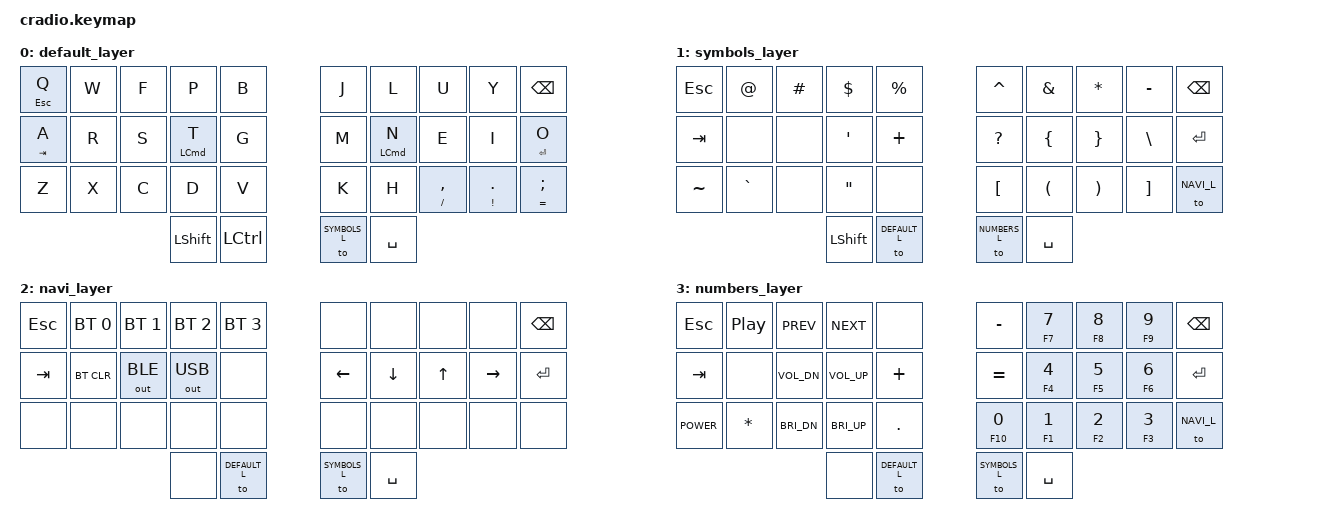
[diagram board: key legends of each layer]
/*
 * Copyright (c) 2020 The ZMK Contributors
 *
 * SPDX-License-Identifier: MIT
 */

#include <behaviors.dtsi>
#include <dt-bindings/zmk/keys.h>
#include <dt-bindings/zmk/outputs.h>
#include <dt-bindings/zmk/bt.h>

#define DEFAULT_L   0
#define SYMBOLS_L   1
#define NAVI_L      2
#define NUMBERS_L   3

&mt {
    //  flavor = "tap-preferred";
   // tapping_term_ms = <200>;
};

/ { 
	
	behaviors {
        hm: homerow_mods {
            compatible = "zmk,behavior-hold-tap";
            label = "HOMEROW_MODS";
            #binding-cells = <2>;
            tapping-term-ms = <300>;
            quick-tap-ms = <200>;
            flavor = "tap-preferred";
            bindings = <&kp>, <&kp>;
        };
    };
	
    combos {
    };

        keymap {
                compatible = "zmk,keymap";
                
       		default_layer {
		bindings = <
		&hm ESC Q 	&kp W   &kp F   &kp P   	&kp B 						        &kp J   &kp L   	&kp U       	&kp Y			&kp BSPC
		&hm TAB A	&kp R   &kp S   &hm LCMD T  &kp G 			        	        &kp M   &hm LCMD N  &kp E       	&kp I   		&hm ENTER O
		&kp Z       &kp X   &kp C   &kp D   	&kp V				                &kp K   &kp H   	&hm SLASH CMMA	&hm EXCL DOT 	&hm EQUAL SEMI
          				            &kp LSHFT 	&kp LCTL  				        	&to SYMBOLS_L   	&kp SPC
		>;
		};

       		symbols_layer {
		bindings = <
		&kp ESC     &kp AT      &kp HASH    &kp DLLR    &kp PRCNT 						    &kp CARET   &kp AMPS    &kp STAR    &kp MINUS   &kp BSPC
		&kp TAB     &none       &none       &kp APOS    &kp PLUS 			        	    &kp QMARK   &kp LBRC    &kp RBRC    &kp BSLH    &kp ENTER
		&kp TILDE   &kp GRAVE   &none       &kp DQT     &none				                &kp LBKT    &kp LPAR    &kp RPAR    &kp RBKT    &to NAVI_L
          				                    &kp LSHIFT  &to DEFAULT_L  				        &to NUMBERS_L   &kp SPC
		>;
		};
		
		navi_layer {
		bindings = <
		&kp ESC     &bt BT_SEL 0    &bt BT_SEL 1    &bt BT_SEL 2    &bt BT_SEL 3    					&none       &none       &none       &none       &kp BSPC
		&kp TAB     &bt BT_CLR      &out OUT_BLE    &out OUT_USB    &none    			        	    &kp LEFT    &kp DOWN    &kp UP      &kp RIGHT   &kp ENTER
		&none       &none           &none           &none           &none				                &none       &none       &none       &none       &none
          				                            &none           &to DEFAULT_L  				        &to SYMBOLS_L   &kp SPC
		>;
		};	
		
		numbers_layer {
		bindings = <
		&kp ESC     &kp C_PP    &kp C_PREV      &kp C_NEXT      &none 						        &kp MINUS   	&hm F7 N7      &hm F8 N8      &hm F9 N9      &kp BSPC
		&kp TAB     &none       &kp C_VOL_DN    &kp C_VOL_UP    &kp PLUS 			        	    &kp EQUAL   	&hm F4 N4      &hm F5 N5      &hm F6 N6      &kp ENTER
		&kp K_POWER &kp STAR    &kp C_BRI_DN    &kp C_BRI_UP    &kp DOT				                &hm F10 N0		&hm F1 N1      &hm F2 N2      &hm F3 N3      &to NAVI_L
        										&none           &to DEFAULT_L  				        &to SYMBOLS_L	&kp SPC
		>;
		};	
        
	};
};
